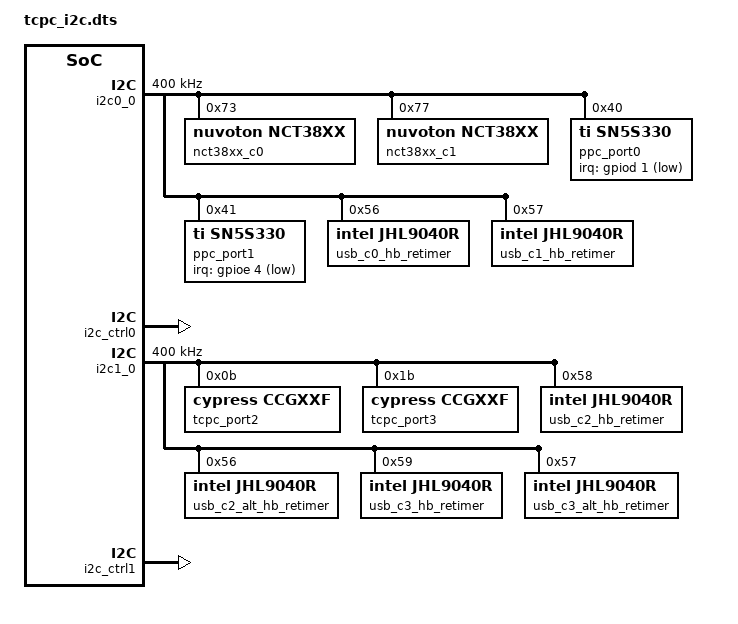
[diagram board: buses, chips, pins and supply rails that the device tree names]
/* Copyright 2023 The ChromiumOS Authors
 * Use of this source code is governed by a BSD-style license that can be
 * found in the LICENSE file.
 */

/ {
	named-i2c-ports {
		typec_aic1: typec-aic1{
			i2c-port = <&i2c0_0>;
			enum-names = "I2C_PORT_TYPEC_AIC_1";
		};
		typec_aic2: typec-aic2{
			i2c-port = <&i2c1_0>;
			enum-names = "I2C_PORT_TYPEC_AIC_2";
		};
	};
};

/* typec_aic1 */
&i2c0_0 {
	label = "I2C_USB_C0_C1_TCPC";
	status = "okay";
	clock-frequency = <I2C_BITRATE_FAST>;
	pinctrl-0 = <&i2c0_0_sda_scl_gpb4_b5>;
	pinctrl-names = "default";

	nct38xx_c0: nct38xx@73 {
		compatible = "nuvoton,nct38xx";
		reg = <0x73>;

		tcpc_port0: nct38xx-tcpc {
			compatible = "nuvoton,nct38xx-tcpc";
			gpio-dev = <&nct38xx_gpio_C0>;
			tcpc-flags = <(
				TCPC_FLAGS_TCPCI_REV2_0 |
				TCPC_FLAGS_NO_DEBUG_ACC_CONTROL)>;
			int-pin = <&usbc_tcpc_alrt_p0>;
		};

		nct38xx_gpio_C0: nct38xx-gpio {
			#address-cells = <1>;
			#size-cells = <0>;
			compatible = "nuvoton,nct38xx-gpio";
			label = "NCT38XX_C0";

			ioex_c0: gpio@0 {
				compatible = "nuvoton,nct38xx-gpio-port";
				reg = <0x0>;
				label = "NCT38XX_C0_GPIO0";
				gpio-controller;
				#gpio-cells = <2>;
				ngpios = <8>;
				pin_mask = <0xdc>;
				pinmux_mask = <0xff>;
			};
		};
	};

	nct38xx_c1: nct38xx_c1@77 {
		compatible = "nuvoton,nct38xx";
		reg = <0x77>;

		tcpc_port1: nct38xx-tcpc {
			compatible = "nuvoton,nct38xx-tcpc";
			gpio-dev = <&nct38xx_gpio_C1>;
			tcpc-flags = <(TCPC_FLAGS_TCPCI_REV2_0)>;
			int-pin = <&usbc_tcpc_alrt_p0>;
		};

		nct38xx_gpio_C1: nct38xx-gpio {
			#address-cells = <1>;
			#size-cells = <0>;
			compatible = "nuvoton,nct38xx-gpio";
			label = "NCT38XX_C1";

			ioex_c1: gpio@0 {
				compatible = "nuvoton,nct38xx-gpio-port";
				reg = <0x0>;
				label = "NCT38XX_C1_GPIO0";
				gpio-controller;
				#gpio-cells = <2>;
				ngpios = <8>;
				pin_mask = <0xdc>;
				pinmux_mask = <0xff>;
			};
		};
	};

	ppc_port0: sn5s330@40 {
		compatible = "ti,sn5s330";
		status = "okay";
		reg = <0x40>;
		/* a duplicate of the <&usbc_tcpc_ppc_alrt_p0> node in
		 * "named-gpios". This is the Zephyr preferred style,
		 * the "named-gpios" node will be dealt with at a later date.
		 */
		irq-gpios = <&gpiod 1 GPIO_ACTIVE_LOW>;
	};

	ppc_port1: sn5s330@41 {
		compatible = "ti,sn5s330";
		status = "okay";
		reg = <0x41>;
		/* a duplicate of the <&usbc_tcpc_ppc_alrt_p1> node in
		 * "named-gpios". This is the Zephyr preferred style,
		 * the "named-gpios" node will be dealt with at a later date.
		 */
		irq-gpios = <&gpioe 4 GPIO_ACTIVE_LOW>;
	};

	usb_c0_hb_retimer: jhl9040r-c0@56 {
		compatible = "intel,jhl9040r";
		reg = <0x56>;
		reset-pin = <&usb_c0_hb_retimer_rst>;
		ls-en-pin = <&usb_c0_hb_retimer_ls_en>;
	};

	usb_c1_hb_retimer: jhl9040r-c1@57 {
		compatible = "intel,jhl9040r";
		reg = <0x57>;
		reset-pin = <&usb_c1_hb_retimer_rst>;
		ls-en-pin = <&usb_c1_hb_retimer_ls_en>;
	};
};

&i2c_ctrl0 {
	status = "okay";
};

/* typec_aic2 */
&i2c1_0 {
	label = "I2C_USB_C2_C3_TCPC";
	status = "okay";
	clock-frequency = <I2C_BITRATE_FAST>;
	pinctrl-0 = <&i2c1_0_sda_scl_gp87_90>;
	pinctrl-names = "default";

	tcpc_port2: ccgxxf@b {
		compatible = "cypress,ccgxxf";
		reg = <0xb>;
		int-pin = <&usbc_tcpc_alrt_p2>;
	};

	tcpc_port3: ccgxxf@1b {
		compatible = "cypress,ccgxxf";
		reg = <0x1b>;
		int-pin = <&usbc_tcpc_alrt_p3>;
	};

	usb_c2_hb_retimer: jhl9040r-c2@58 {
		compatible = "intel,jhl9040r";
		reg = <0x58>;
		reset-pin = <&usb_c2_hb_retimer_rst>;
		ls-en-pin = <&usb_c2_hb_retimer_ls_en>;
	};

	usb_c2_alt_hb_retimer: jhl9040r-c2@56 {
		compatible = "intel,jhl9040r";
		reg = <0x56>;
		reset-pin = <&usb_c2_hb_retimer_rst>;
		ls-en-pin = <&usb_c2_hb_retimer_ls_en>;
	};

	usb_c3_hb_retimer: jhl9040r-c3@59 {
		compatible = "intel,jhl9040r";
		reg = <0x59>;
		reset-pin = <&usb_c3_hb_retimer_rst>;
		ls-en-pin = <&usb_c3_hb_retimer_ls_en>;
	};

	usb_c3_alt_hb_retimer: jhl9040r-c3@57 {
		compatible = "intel,jhl9040r";
		reg = <0x57>;
		reset-pin = <&usb_c3_hb_retimer_rst>;
		ls-en-pin = <&usb_c3_hb_retimer_ls_en>;
	};
};

&i2c_ctrl1 {
	status = "okay";
};
